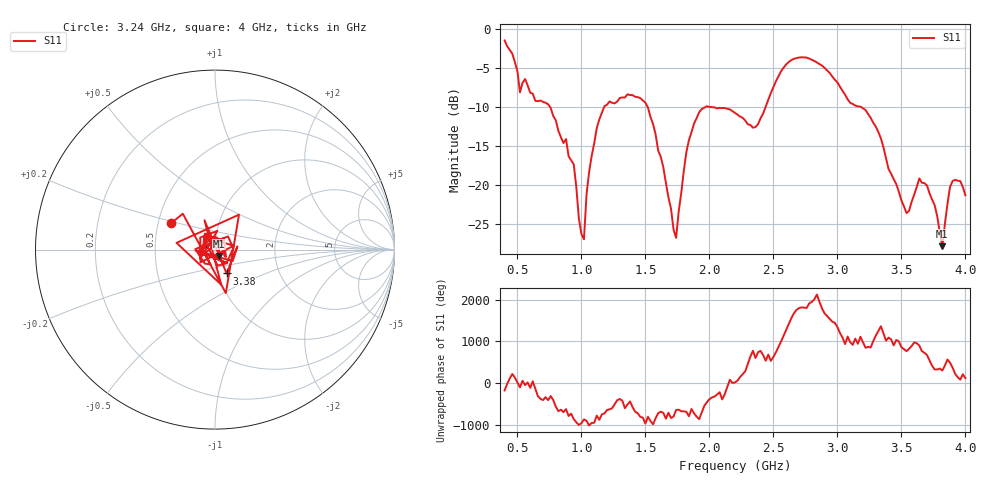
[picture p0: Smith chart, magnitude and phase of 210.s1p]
!Created with skrf (http://scikit-rf.org).
# Hz S RI R 50.0
!freq ReS11 ImS11
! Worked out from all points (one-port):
!   181 points, 400 MHz to 4 GHz, reference 50 ohm
!   lowest |S11| = -27.9 dB at 3.82 GHz (marker M1), VSWR 1.08, Z = 52 - j3.62 ohm
!   |S11| at or under -10 dB: 1.517 GHz to 1.973 GHz (456.4 MHz wide, 26.2 % of centre); 1.997 GHz to 2.439 GHz (442.6 MHz wide, 20 % of centre); 3.182 GHz to end of sweep (the widest 3 of 4)
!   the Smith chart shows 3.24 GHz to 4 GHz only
!   S11 on the Smith chart (normalised r, x): 3.24 GHz: 0.59, +0.19; 3.38 GHz: 1.10, -0.30; 4 GHz: 0.91, +0.13
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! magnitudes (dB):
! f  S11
! 400 MHz  -1.5
! 520 MHz  -8.1
! 740 MHz  -9.7
! 860 MHz  -14.7
! 940 MHz  -17.4
! 980 MHz  -24.3
! 1.02 GHz  -27.0
! 1.06 GHz  -18.4
! 1.12 GHz  -12.7
! 1.3 GHz  -8.9
! 1.52 GHz  -10.1
! 1.72 GHz  -25.8
! 1.74 GHz  -26.8
! 1.76 GHz  -23.5
! 1.82 GHz  -15.8
! 1.92 GHz  -10.7
! 2.2 GHz  -10.8
! 2.36 GHz  -12.6
! 2.66 GHz  -3.8
! 3.1 GHz  -9.5
! 3.24 GHz  -10.9
! 3.38 GHz  -16.6
! 3.56 GHz  -23.4
! 3.64 GHz  -19.2
! 3.7 GHz  -20.1
! 3.82 GHz  -27.9
! 3.9 GHz  -19.5
! 4 GHz  -21.3
